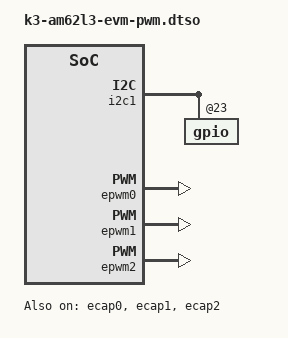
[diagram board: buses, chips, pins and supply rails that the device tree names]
// SPDX-License-Identifier: GPL-2.0-or-later OR MIT
/**
 *
 * DT Overlay for enabling PWM output on user expansion connector for AM62L3 EVM
 *
 * Copyright (C) 2024 Texas Instruments Incorporated - https://www.ti.com/
 */

/dts-v1/;
/plugin/;

#include <dt-bindings/gpio/gpio.h>
#include "k3-pinctrl.h"

&pmx0 {
	main_epwm0_pins_default: main-epwm0-pins-default {
		pinctrl-single,pins = <
			AM62LX_IOPAD(0x00ac, PIN_OUTPUT, 4) /* (G22) GPMC0_AD13.EHRPWM0_A */
			AM62LX_IOPAD(0x00b0, PIN_OUTPUT, 4) /* (F22) GPMC0_AD14.EHRPWM0_B */
		>;
	};

	main_epwm1_pins_default: main-epwm1-pins-default {
		pinctrl-single,pins = <
			AM62LX_IOPAD(0x00b4, PIN_OUTPUT, 4) /* (F23) GPMC0_AD15.EHRPWM1_A */
			AM62LX_IOPAD(0x00b8, PIN_OUTPUT, 4) /* (L21) GPMC0_CLK.EHRPWM1_B */
		>;
	};

	main_epwm2_pins_default: main-epwm2-pins-default {
		pinctrl-single,pins = <
			AM62LX_IOPAD(0x00c4, PIN_OUTPUT, 4) /* (N20) GPMC0_OEn_REn.EHRPWM2_A */
			AM62LX_IOPAD(0x00c8, PIN_OUTPUT, 4) /* (M19) GPMC0_WEn.EHRPWM2_B */
		>;
	};

	main_ecap0_pins_default: main-ecap0-default-pins {
		pinctrl-single,pins = <
			AM62LX_IOPAD(0x0078, PIN_OUTPUT, 5) /* (L22) GPMC0_AD0.ECAP0_IN_APWM_OUT */
		>;
	};

	main_ecap1_pins_default: main_ecap1-default-pins {
		pinctrl-single,pins = <
			AM62LX_IOPAD(0x007c, PIN_OUTPUT, 5) /* (L23) GPMC0_AD1.ECAP1_IN_APWM_OUT */
		>;
	};

	main_ecap2_pins_default: main-ecap2-default-pins {
		pinctrl-single,pins = <
			AM62LX_IOPAD(0x009c, PIN_OUTPUT, 5) /* (H20) GPMC0_AD9.ECAP2_IN_APWM_OUT */
		>;
	};
};

&i2c1 {
	gpio@23 {
		fet_sel {
			/* P01 - VOUT0_FET_SEL0 */
			gpio-hog;
			gpios = <1 GPIO_ACTIVE_HIGH>;
			output-high;
			line-name = "VOUT0_FET_SEL0";
		};
	};
};

&sii9022 {
	/* Conflict: GPMC0_AD13, GPMC0_AD14, GPMC0_AD15, GPMC0_CLK, GPMC0_OEn_REn, GPMC0_WEn, GPMC0_AD0, GPMC0_AD1, GPMC0_AD9 */
	status = "disabled";
};

&epwm0 {
	/* J2: P18 & J3: P7 */
	pinctrl-names = "default";
	pinctrl-0 = <&main_epwm0_pins_default>;
	status = "okay";
};

&epwm1 {
	/* J2: P10/P5 */
	pinctrl-names = "default";
	pinctrl-0 = <&main_epwm1_pins_default>;
	status = "okay";
};

&epwm2 {
	/* J2: P4/P1 */
	pinctrl-names = "default";
	pinctrl-0 = <&main_epwm2_pins_default>;
	status = "okay";
};

&ecap0 {
	/* ECAP0 in APWM mode */
	/* J2: P24 */
	pinctrl-names = "default";
	pinctrl-0 = <&main_ecap0_pins_default>;
	status = "okay";
};

&ecap1 {
	/* ECAP1 in APWM mode */
	/* J2: P26 */
	pinctrl-names = "default";
	pinctrl-0 = <&main_ecap1_pins_default>;
	status = "okay";
};

&ecap2 {
	/* ECAP2 in APWM mode */
	/* J3: P9 */
	pinctrl-names = "default";
	pinctrl-0 = <&main_ecap2_pins_default>;
	status = "okay";
};
